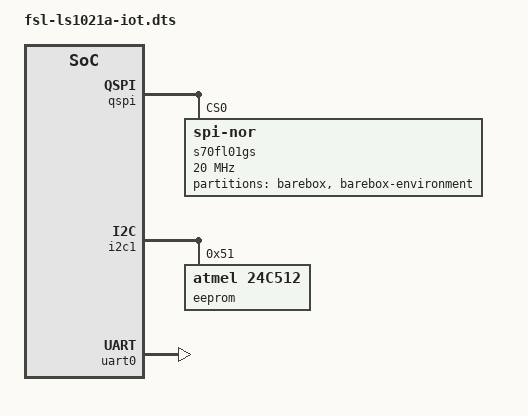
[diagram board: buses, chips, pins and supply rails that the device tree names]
// SPDX-License-Identifier: GPL-2.0+
/*
 * Freescale ls1021a IOT board device tree source
 *
 * Copyright 2016 Freescale Semiconductor, Inc.
 */

/dts-v1/;

#include <arm/nxp/ls/ls1021a-iot.dts>

/ {
	barebox,disable-deep-probe;

	chosen {
		stdout-path = &uart0;

		environment {
			compatible = "barebox,environment";
			device-path = &environment_qspi;
		};
	};
};

&qspi {
	bus-num = <0>;
	status = "okay";

	s70fl01gs: flash@0 {
		compatible = "jedec,spi-nor";
		#address-cells = <1>;
		#size-cells = <1>;
		spi-max-frequency = <20000000>;
		reg = <0>;

		partitions {
			#address-cells = <1>;
			#size-cells = <1>;

			compatible = "fixed-partitions";

			partition@0 {
				label = "barebox";
				reg = <0 0x100000>;
			};

			environment_qspi: partition@100000 {
				label = "barebox-environment";
				reg = <0x100000 0x40000>;
			};
		};
	};
};

&i2c0 {
	status = "disabled";
};

&i2c1 {
	status = "okay";
	eeprom@51 {
		compatible = "atmel,24c512";
		reg = <0x51>;
	};
};

/* I2C1 and I2C2 are connected due to Errata on rev1 board */
&i2c2 {
	status = "disabled";
};

&uart0 {
	status = "okay";
	clock-frequency = <150000000>;
};

&uart1 {
	status = "disabled";
};
